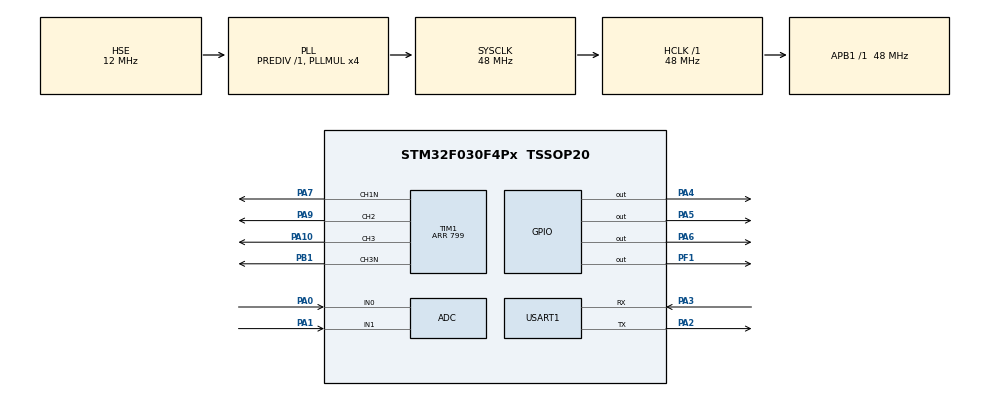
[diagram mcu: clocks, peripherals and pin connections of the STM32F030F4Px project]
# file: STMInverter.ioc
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ADC.DMAContinuousRequests=ENABLE
ADC.ExternalTrigConv=ADC_EXTERNALTRIGCONV_T1_TRGO
Dma.ADC.0.Direction=DMA_PERIPH_TO_MEMORY
Dma.ADC.0.Instance=DMA1_Channel1
Dma.ADC.0.MemDataAlignment=DMA_MDATAALIGN_HALFWORD
Dma.ADC.0.MemInc=DMA_MINC_ENABLE
Dma.ADC.0.Mode=DMA_CIRCULAR
Dma.ADC.0.PeriphDataAlignment=DMA_PDATAALIGN_HALFWORD
Dma.ADC.0.PeriphInc=DMA_PINC_DISABLE
Dma.ADC.0.Priority=DMA_PRIORITY_LOW
Dma.Request0=ADC
Mcu.Family=STM32F0
Mcu.Name=STM32F030F4Px
Mcu.Package=TSSOP20
NVIC.DMA1_Channel1_IRQn=true\:0\:0\:false\:false\:true\:false\:true\:true
NVIC.TIM1_BRK_UP_TRG_COM_IRQn=true\:0\:0\:false\:false\:true\:true\:true\:true
PA0.Mode=IN0
PA0.Signal=ADC_IN0
PA1.Mode=IN1
PA1.Signal=ADC_IN1
PA10.Signal=S_TIM1_CH3
PA13.Mode=Serial_Wire
PA13.Signal=SYS_SWDIO
PA14.Mode=Serial_Wire
PA14.Signal=SYS_SWCLK
PA2.Mode=Asynchronous
PA2.Signal=USART1_TX
PA3.Mode=Asynchronous
PA3.Signal=USART1_RX
PA4.Signal=GPIO_Output
PA5.Signal=GPIO_Output
PA6.Signal=GPIO_Output
PA7.Mode=PWM Generation1 CH1N
PA7.Signal=TIM1_CH1N
PA9.Signal=S_TIM1_CH2
PB1.Mode=PWM Generation3 CH3 CH3N
PB1.Signal=TIM1_CH3N
PF0-OSC_IN.Mode=HSE-External-Clock-Source
PF0-OSC_IN.Signal=RCC_OSC_IN
PF1-OSC_OUT.Signal=GPIO_Output
ProjectManager.HeapSize=0x200
ProjectManager.StackSize=0x400
ProjectManager.TargetToolchain=STM32CubeIDE
RCC.AHBFreq_Value=48000000
RCC.APB1Freq_Value=48000000
RCC.APB1TimFreq_Value=48000000
RCC.HCLKFreq_Value=48000000
RCC.HSE_VALUE=12000000
RCC.PLLMUL=RCC_PLL_MUL4
RCC.PLLSourceVirtual=RCC_PLLSOURCE_HSE
RCC.SYSCLKFreq_VALUE=48000000
RCC.SYSCLKSource=RCC_SYSCLKSOURCE_PLLCLK
SH.S_TIM1_CH2.0=TIM1_CH2,PWM Generation2 CH2
SH.S_TIM1_CH3.0=TIM1_CH3,PWM Generation3 CH3 CH3N
TIM1.Channel-PWM\ Generation1\ CH1N=TIM_CHANNEL_1
TIM1.Channel-PWM\ Generation2\ CH2=TIM_CHANNEL_2
TIM1.Channel-PWM\ Generation3\ CH3\ CH3N=TIM_CHANNEL_3
TIM1.CounterMode=TIM_COUNTERMODE_CENTERALIGNED1
TIM1.DeadTime=0
TIM1.OCNPolarity_1=TIM_OCNPOLARITY_LOW
TIM1.Period=799
TIM1.Pulse-PWM\ Generation1\ CH1N=0
TIM1.Pulse-PWM\ Generation3\ CH3\ CH3N=0
TIM1.RepetitionCounter=5
TIM1.TIM_MasterOutputTrigger=TIM_TRGO_UPDATE
USART1.VirtualMode-Asynchronous=VM_ASYNC
VP_TIM1_VS_ClockSourceINT.Mode=Internal
board=custom

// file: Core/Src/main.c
/* USER CODE BEGIN Header */
/**
  ******************************************************************************
  * @file           : main.c
  * @brief          : Main program body
  ******************************************************************************
  * @attention
  *
  * Copyright (c) 2022 STMicroelectronics.
  * All rights reserved.
  *
  * This software is licensed under terms that can be found in the LICENSE file
  * in the root directory of this software component.
  * If no LICENSE file comes with this software, it is provided AS-IS.
  *
  ******************************************************************************
  */
/* USER CODE END Header */
#include "main.h"

/* USER CODE BEGIN Includes */
#include <stdlib.h>
#include <stdbool.h>
//#include <stdio.h>
#include <string.h>
#include "controller.h"
#include "sogi_pllFXP.h"
/* USER CODE END Includes */

/* USER CODE BEGIN PD */

#define SHUTDOWN_MASK (1<<6)  // Gatedriver Shutdown Pin + LED (inverted)

enum state_t {INIT, POWER_TEST, GRID_CONNECTING, GRID_SYNC};
volatile enum state_t state = INIT;

/* USER CODE END PD */

ADC_HandleTypeDef hadc;
DMA_HandleTypeDef hdma_adc;

TIM_HandleTypeDef htim1;

UART_HandleTypeDef huart1;

/* USER CODE BEGIN PV */
uint16_t ADCxConvertedData[2];
uint16_t adcOff;
volatile uint16_t debug_Vdc_filt;
volatile int16_t debug_i_ref_amp;
volatile int16_t debug_v_amp_pred;

volatile bool status_Vin = false;
volatile bool status_Vgrid = false;

volatile uint32_t cnt_intr;
volatile uint32_t cnt_crowbar_actions;
/* USER CODE END PV */

void SystemClock_Config(void);
static void MX_GPIO_Init(void);
static void MX_DMA_Init(void);
static void MX_ADC_Init(void);
static void MX_TIM1_Init(void);
static void MX_USART1_UART_Init(void);

/* USER CODE BEGIN 0 */
// Redirect standard output to the UART port
//int _write(int file, char *ptr, int len)
//{
//    HAL_UART_Transmit(&huart1,(uint8_t *)ptr,len, 10);
//    return len;
//}

#define uSend(x) uartSend(x, sizeof x -1)
void uartSend(char* ptr, int len)
{
    HAL_UART_Transmit(&huart1,(uint8_t *)ptr,len, 10);

}

//volatile bool conv_done = false;
//void HAL_TIM_TriggerCallback(TIM_HandleTypeDef *htim)

// 30kHz / ((5+1)/2) = 10kHz
#define CTRL_FREQ 10000
// execution time = 77.19us
// PV voltage applied until first execution of this callback:
// 500µs soft ramp of Buck-Conv + 4.2ms when controller has >3V = 4.7ms
// maximum PV current: 6A -> 6mF * 28V /6A = 28.0ms -> enough time for crowbar to limit Vin

//void HAL_TIM_PeriodElapsedCallback(TIM_HandleTypeDef *htim)
void HAL_ADC_ConvCpltCallback(ADC_HandleTypeDef *hadc)
{

  //HAL_GPIO_TogglePin(GPIOA, GPIO_PIN_5);
  GPIOA->BSRR = (1<<5); //set PA5
  //conv_done = true;
  cnt_intr++;

  // Lowpass filter for Vdc
  static uint16_t Vdc_prev[3] = {0};
  uint16_t Vdc_filt = ((uint32_t)ADCxConvertedData[0] + Vdc_prev[0] + Vdc_prev[1] + Vdc_prev[2]) >> 2;
  debug_Vdc_filt = Vdc_filt;
  Vdc_prev[2] = Vdc_prev[1];
  Vdc_prev[1] = Vdc_prev[0];
  Vdc_prev[0] = ADCxConvertedData[0];

  // #######################
  // ### error checking  ###
  // #######################

  // Vin
  if (Vdc_filt > VIN_MIN_RAW && Vdc_filt < VIN_MAX_RAW) {
	  if (Vdc_filt > VIN_START_RAW) {
		  status_Vin = true;
	  }
  } else {
	  GPIOA->BSRR = SHUTDOWN_MASK;  // disable PWM & yellow LED
	  GPIOF->BRR = 1<<1;  // disable contactor
	  status_Vin = false;
	  state = INIT;
  }

  // Vin crowbar to limit input PV voltage
  if (Vdc_filt > VIN_CROWBAR_MAX_RAW) {
	  GPIOA->BSRR = 1<<4;  // enable PV crowbar
	  cnt_crowbar_actions++;
  } else if (Vdc_filt < VIN_CROWBAR_MIN_RAW) {
	  GPIOA->BRR = 1<<4;  // disable PV crowbar
  }

  // Vgrid
  int32_t vd = pll_get_vd();
  int32_t w = pll_get_w();
  static uint32_t cnt_pll_locked = 0;
  if (vd > VD_MIN_RAW && vd < VD_MAX_RAW &&
	   w > W_MIN_RAW && w < W_MAX_RAW) {
	  if (cnt_pll_locked == 0.2*CTRL_FREQ) {  // 200ms
		  status_Vgrid = true;
	  } else {
		  cnt_pll_locked++;
	  }
  } else {
	  status_Vgrid = false;
	  cnt_pll_locked = 0;
  }

  // #################
  // ### read ADC  ###
  // #################

  // Now configured in auto trigger mode

  // DMA mode takes 6.02us for 3 channels; 5.92uS without if(HAL_OK) -> 20us-6us = 14us -> 14us*48MHz = 672 cycles
  //static uint16_t   aADCxConvertedData[ADC_CONVERTED_DATA_BUFFER_SIZE];

  /* ### - 4 - Start conversion in DMA mode ################################# */
  //HAL_ADC_Start_DMA(&hadc, (uint32_t *)aADCxConvertedData, ADC_CONVERTED_DATA_BUFFER_SIZE );

  // polling mode takes 6.25us (for 1channel?)
//	    /*##-3- Start the conversion process #######################################*/
//	    if (HAL_ADC_Start(&hadc) != HAL_OK)
//	    {
//	      /* Start Conversation Error */
//	      Error_Handler();
//	    }
//
//	    /*##-4- Wait for the end of conversion #####################################*/
//	    /*  For simplicity reasons, this example is just waiting till the end of the
//	    conversion, but application may perform other tasks while conversion
//	    operation is ongoing. */
//	    if (HAL_ADC_PollForConversion(&hadc, 10) != HAL_OK)
//	    {
//	      /* End Of Conversion flag not set on time */
//	      Error_Handler();
//	    }
//	    else
//	    {
//	      /* ADC conversion completed */
//	      /*##-5- Get the converted value of regular channel  ########################*/
//	    	aADCxConvertedData[0] = HAL_ADC_GetValue(&hadc);
//	    }

  int16_t duty1 = 0;
  static uint32_t cnt_rel = 0;
  cnt_rel++;

#define PWM_MAX 800
#define PWM_MAX_HALF (PWM_MAX>>1)

	  int16_t phase = pll_singlephase_step(ADCxConvertedData[1]-adcOff);

  switch (state) {
  	  case INIT:
  		  GPIOF->BRR = 1<<1;  // disable contactor
  		  GPIOA->BSRR = SHUTDOWN_MASK;  // disable PWM & yellow LED
//  		  if (status_Vin  && (cnt_rel >= 10*CTRL_FREQ)) {  // wait 10sec, cnt_rel exactly equal (==) seems to causes hangup in morning startup
		  if (status_Vin) {
  			  state = POWER_TEST;
  			  cnt_crowbar_actions = 0;
  			  cnt_rel = 0;
  		  }
  		  break;

  	  case POWER_TEST:

  		  // higher power consumption through sine generation -> safety risk
//  		  static int16_t phase_gridforming = 0;
//  		  phase_gridforming += ((1<<15)*50)/CTRL_FREQ;
//  		  duty1 = PWM_MAX_HALF + ( (int32_t)( (PWM_MAX_HALF*(VGRID_AMP/VGRID_TRATIO)/VDC_REF)*(int32_t)cos1(phase_gridforming) ) >> 15 );
//		  GPIOA->BRR = SHUTDOWN_MASK;  // enable PWM

		  // If crowbar has a lot of work to do in the first 30 seconds -> enough power is available
		  if (cnt_crowbar_actions > 1080) {
			  state = GRID_CONNECTING;
			  cnt_rel = 0;
		  }

		  if (cnt_rel >= 30*CTRL_FREQ) {  // if still here after 30 sec -> reset microcontroller
			  NVIC_SystemReset();  // most efficient way to get back to first state
		  }
  		  break;

  	  case GRID_CONNECTING:
  		 GPIOF->BSRR = 1<<1;  // enable contactor
  		 if (cnt_rel == 0.025*CTRL_FREQ) {  // 25ms delay for contactor action
  			state = GRID_SYNC;
  			cnt_rel = 0;
  			piCtrl.y = 0;
  			piCtrl.x_prev = 0;
  		 }
  		 break;

  	  case GRID_SYNC:

		  // #########################
		  // ### control algorithm ###
		  // #########################

		  if (status_Vgrid) {

#define EXTEND_LOC 5
#define SCALE_VAC2VDC (int32_t)( ((VGRID_ADCR/VGRID_TRATIO) / VIN_ADCR ) * (1<<EXTEND_LOC) )

			cnt_rel = 0;
			//int16_t i_ref_amp = step_pi_Vdc2IacAmp( VDC_REF_RAW, Vdc_filt );
			int16_t i_ref_amp = step_pi_Vdc2IacAmp_volt_comp( VDC_REF_RAW, Vdc_filt, phase );
			debug_i_ref_amp = i_ref_amp;

			int16_t duty_pll = ( pll_get_vd()*SCALE_VAC2VDC * PWM_MAX_HALF / Vdc_filt ) >> EXTEND_LOC;

			//int16_t v_amp_pred = 20*step_IacAmp2VacSecAmp(i_ref_amp);  // 10 Ohm resistor test + 130uH  22.4ns rise time 24.18V/22.0Vdc
			//int16_t v_amp_pred = 40*step_IacAmp2VacSecAmp(i_ref_amp);  // 10 Ohm resistor test + 130uH  36.5ns rise time 22.3V/22.0Vdc bzw. 10.4ns rise time 27.53V/21.78Vdc
								                                         // ohne Gate Ausschaltdioden 26ns rise time 22.19V/21.4Vdc -> minimal overshoot
			int16_t v_amp_pred = calc_IacAmp2VacSecAmpDCscale(i_ref_amp);
			debug_v_amp_pred = v_amp_pred;
			int16_t duty_v_amp_pred = ( v_amp_pred * PWM_MAX_HALF ) / Vdc_filt;

			// irefamp 3,3A -> 13,7W  7,6A ->30W  11,1A -> 43W  12,2V->49W(25,2-27,6Vdc)

			// fixed L and R Trafo + winding parallel
			//int16_t phase_shiftRL = get_IacPhase();  // Strom eilt 505us vor 10,5W 12,5VA
			//int16_t phase_shiftRL = get_IacPhase() + (int16_t)(((1<<15)*-0.505)/20); //IAC_AMP_MAX 12.0  // 38W/45VA Strom(4Aamp) eilt 1,8ms nach (23,6Voutamp 27,4Vdc)
			// bei kleinen Strömen eilt Strom vor, bei großen nach -> keine Kompensation
			//int16_t phase_shiftRL = get_IacPhase(); // Strom eilt 1.08ms nach bei 4,2Aamp
			int16_t phase_shiftRL = get_IacPhase()+ (int16_t)(((1<<15)*1.08)/20);  // Strom(3,5Aamp) in Phase bei 40,5W/42,5VA (25,4Vdc bis 27,3Vdc)

			//duty1 = PWM_MAX_HALF + ( ( PWM_MAX_HALF*(int32_t)cos1(phase) ) >> 15 );  // MAX amplitude test
			//duty1 = PWM_MAX_HALF + ( ( (duty_v_amp_pred)*(int32_t)cos1(phase) ) >> 15 );  //resistor test; asymm, maybe because of Oszi
			duty1 = PWM_MAX_HALF + ( ( (duty_pll*(int32_t)cos1(phase) + duty_v_amp_pred*(int32_t)cos1(phase+phase_shiftRL)) ) >> 15 );

			static uint32_t cnt_power_low = 0;

			if (i_ref_amp < I_REF_AMP_MIN_RAW) {
				cnt_power_low++;
				if (cnt_power_low == 30*CTRL_FREQ ) {  // 30 sec low power -> reset microcontroller
					NVIC_SystemReset();
				}
			} else {
				cnt_power_low = 0;
			}

			GPIOA->BRR = SHUTDOWN_MASK;  // enable PWM & yellow LED

  		  } else {
			  GPIOA->BSRR = SHUTDOWN_MASK;  // disable PWM & yellow LED
			  if (cnt_rel == 30*CTRL_FREQ) {  // 30 sec no valid grid -> reset microcontroller
				  NVIC_SystemReset();
			  }
  		  }

		  break;
	}

	  // single PWM step has 1/48MHz = 20.83ns
#define MIN_PULSE 4  // min pulse duration is 83ns - 50ns deadtime = 33ns
	  if (duty1 > (PWM_MAX-MIN_PULSE)) {
		  duty1 = PWM_MAX;
	  } else if (duty1 < MIN_PULSE){
		  duty1 = 0;
	  }

	  // A leg
	  __HAL_TIM_SetCompare(&htim1, TIM_CHANNEL_3, duty1);  //update pwm value

	  // B leg
	  int16_t duty2 = PWM_MAX_HALF+(PWM_MAX_HALF-duty1);
	  __HAL_TIM_SetCompare(&htim1, TIM_CHANNEL_1, duty2);  //update pwm value
	  __HAL_TIM_SetCompare(&htim1, TIM_CHANNEL_2, duty2);  //update pwm value

	  GPIOA->BRR = (1<<5); //switch off PA5

}

/* USER CODE END 0 */

int main(void)
{

  /* MCU Configuration--------------------------------------------------------*/

  /* Reset of all peripherals, Initializes the Flash interface and the Systick. */
  HAL_Init();

  /* Configure the system clock */
  SystemClock_Config();

  /* Initialize all configured peripherals */
  MX_GPIO_Init();
  MX_DMA_Init();
  MX_ADC_Init();
  MX_TIM1_Init();
  MX_USART1_UART_Init();
  /* USER CODE BEGIN 2 */

  GPIOA->BSRR = SHUTDOWN_MASK;  // disable PWM & yellow LED

  char Tx_Buffer[64];
  uint8_t Tx_len;

//  HAL_UART_Transmit(&huart1,(uint8_t *)Tx_Buffer,Tx_len, 10);
  //HAL_UART_Transmit_IT(&huart1,(uint8_t *)Tx_Buffer,Tx_len);

  // ###########################
  // ### Timer configuration ###
  // ###########################

  if (  HAL_TIMEx_PWMN_Start(&htim1, TIM_CHANNEL_1) != HAL_OK)
  {
    /* PWM Generation Error */
    Error_Handler();
  }
  if (   HAL_TIM_PWM_Start(&htim1, TIM_CHANNEL_2) != HAL_OK)
  {
    /* PWM Generation Error */
    Error_Handler();
  }
  if (   HAL_TIM_PWM_Start(&htim1, TIM_CHANNEL_3) != HAL_OK)
  {
    /* PWM Generation Error */
    Error_Handler();
  }
  if (  HAL_TIMEx_PWMN_Start(&htim1, TIM_CHANNEL_3) != HAL_OK)
  {
    /* PWM Generation Error */
    Error_Handler();
  }

  if (  HAL_TIM_Base_Start_IT(&htim1) != HAL_OK)
  {
    Error_Handler();
  }

  if ( HAL_ADC_Start_DMA(&hadc, (uint32_t *)ADCxConvertedData, sizeof(ADCxConvertedData)/sizeof(ADCxConvertedData[0]))  != HAL_OK)
  {
    Error_Handler();
  }

	// get ADC offset -> can be done once for every new microcontroller
//    uint32_t adc_sum = 0;
//	for (int i=0; i < (1<<15); i++ ) {
//	  /* ### - 4 - Start conversion in DMA mode ################################# */
//	  //HAL_ADC_Start_DMA(&hadc, (uint32_t *)ADCxConvertedData, sizeof(ADCxConvertedData)/sizeof(ADCxConvertedData[0]));
//	  while (!conv_done) {
//		  asm("nop");
//	  }
//
//	  conv_done = false;
//	  adc_sum += ADCxConvertedData[1];
//	}
//	adcOff = adc_sum >> 15;
//
//	uSend("\nADCcal ");
//	itoa(adcOff, Tx_Buffer, 10);
//	Tx_len=strlen(Tx_Buffer);
//	HAL_UART_Transmit(&huart1, (uint8_t *)Tx_Buffer, Tx_len, 10);
//	uSend("\n");

	adcOff = 943-9;  //+0 : 200mAdc 3,5W/20VA  +10:390mAdc   -9: 40mAdc 2,7W/13VA  0,5W/10VA/1,3Irefamp
	pll_set_phaseOffset((1<<15) * -10.03/20);  // zero crossing of grid and converter voltage matched

  /* USER CODE END 2 */

  /* Infinite loop */
  while (1)
  {

    /* USER CODE BEGIN 3 */

	  //HAL_IWDG_Refresh(&hiwdg);

	  //if (cnt_intr % CTRL_FREQ == 0) {  // V1: once a second
	  // V2: on data request
	  uint8_t Rx_Buffer = 0;
	  HAL_UART_Receive(&huart1, &Rx_Buffer, 1, 10);

	  if (Rx_Buffer == 'p') {

		  uSend("state");
		  itoa(state, Tx_Buffer, 10);
		  Tx_len=strlen(Tx_Buffer);
		  HAL_UART_Transmit(&huart1, (uint8_t *)Tx_Buffer, Tx_len, 10);

		  if (status_Vin) {
			  uSend(" Vin:ok");
		  }
		  if (status_Vgrid) {
			  uSend(" Vgrid:ok");
		  }

		  uSend("\ncnt_crowbar_actions");
		  itoa(cnt_crowbar_actions, Tx_Buffer, 10);
		  Tx_len=strlen(Tx_Buffer);
		  HAL_UART_Transmit(&huart1, (uint8_t *)Tx_Buffer, Tx_len, 10);

		  uSend("\nvd");
		  itoa((pll_get_vd()*(uint16_t)VGRID_ADCR) >> ADC_BITS, Tx_Buffer, 10);
		  Tx_len=strlen(Tx_Buffer);
		  HAL_UART_Transmit(&huart1, (uint8_t *)Tx_Buffer, Tx_len, 10);

		  uSend("\nw");
		  itoa(pll_get_w()*100/((1<<15)-1), Tx_Buffer, 10);
		  Tx_len=strlen(Tx_Buffer);
		  HAL_UART_Transmit(&huart1, (uint8_t *)Tx_Buffer, Tx_len, 10);

		  uSend("\nVdc");
		  itoa((debug_Vdc_filt * (uint16_t) (10*VIN_ADCR)) >> ADC_BITS, Tx_Buffer, 10);
		  Tx_len=strlen(Tx_Buffer);
		  HAL_UART_Transmit(&huart1, (uint8_t *)Tx_Buffer, Tx_len, 10);

		  uSend("\nIrefAmp");
		  itoa((debug_i_ref_amp*10*(uint16_t)IGRID_ADCR) >> ADC_BITS, Tx_Buffer, 10);
		  Tx_len=strlen(Tx_Buffer);
		  HAL_UART_Transmit(&huart1, (uint8_t *)Tx_Buffer, Tx_len, 10);

//		  uSend("\nVdcR");
//		  itoa(Vdc_filt, Tx_Buffer, 10);
//		  Tx_len=strlen(Tx_Buffer);
//		  HAL_UART_Transmit(&huart1, (uint8_t *)Tx_Buffer, Tx_len, 10);
//
//		  uSend("\nVacR");
//		  itoa(ADCxConvertedData[1], Tx_Buffer, 10);
//		  Tx_len=strlen(Tx_Buffer);
//		  HAL_UART_Transmit(&huart1, (uint8_t *)Tx_Buffer, Tx_len, 10);
//
//		  uSend("\nIrefAmpR");
//		  itoa(debug_i_ref_amp, Tx_Buffer, 10);
//		  Tx_len=strlen(Tx_Buffer);
//		  HAL_UART_Transmit(&huart1, (uint8_t *)Tx_Buffer, Tx_len, 10);
//
//		  uSend("\nv_amp_predR");
//		  itoa(debug_v_amp_pred, Tx_Buffer, 10);
//		  Tx_len=strlen(Tx_Buffer);
//		  HAL_UART_Transmit(&huart1, (uint8_t *)Tx_Buffer, Tx_len, 10);

		  uSend("\n\n");
	  }
	  //HAL_Delay(1000);  //ms
  }
  /* USER CODE END 3 */
}

void SystemClock_Config(void)
{
  RCC_OscInitTypeDef RCC_OscInitStruct = {0};
  RCC_ClkInitTypeDef RCC_ClkInitStruct = {0};
  RCC_PeriphCLKInitTypeDef PeriphClkInit = {0};

  /** Initializes the RCC Oscillators according to the specified parameters
  * in the RCC_OscInitTypeDef structure.
  */
  RCC_OscInitStruct.OscillatorType = RCC_OSCILLATORTYPE_HSI14|RCC_OSCILLATORTYPE_HSE;
  RCC_OscInitStruct.HSEState = RCC_HSE_BYPASS;
  RCC_OscInitStruct.HSI14State = RCC_HSI14_ON;
  RCC_OscInitStruct.HSI14CalibrationValue = 16;
  RCC_OscInitStruct.PLL.PLLState = RCC_PLL_ON;
  RCC_OscInitStruct.PLL.PLLSource = RCC_PLLSOURCE_HSE;
  RCC_OscInitStruct.PLL.PLLMUL = RCC_PLL_MUL4;
  RCC_OscInitStruct.PLL.PREDIV = RCC_PREDIV_DIV1;
  if (HAL_RCC_OscConfig(&RCC_OscInitStruct) != HAL_OK)
  {
    Error_Handler();
  }

  /** Initializes the CPU, AHB and APB buses clocks
  */
  RCC_ClkInitStruct.ClockType = RCC_CLOCKTYPE_HCLK|RCC_CLOCKTYPE_SYSCLK
                              |RCC_CLOCKTYPE_PCLK1;
  RCC_ClkInitStruct.SYSCLKSource = RCC_SYSCLKSOURCE_PLLCLK;
  RCC_ClkInitStruct.AHBCLKDivider = RCC_SYSCLK_DIV1;
  RCC_ClkInitStruct.APB1CLKDivider = RCC_HCLK_DIV1;

  if (HAL_RCC_ClockConfig(&RCC_ClkInitStruct, FLASH_LATENCY_1) != HAL_OK)
  {
    Error_Handler();
  }
  PeriphClkInit.PeriphClockSelection = RCC_PERIPHCLK_USART1;
  PeriphClkInit.Usart1ClockSelection = RCC_USART1CLKSOURCE_PCLK1;
  if (HAL_RCCEx_PeriphCLKConfig(&PeriphClkInit) != HAL_OK)
  {
    Error_Handler();
  }
}

static void MX_ADC_Init(void)
{

  ADC_ChannelConfTypeDef sConfig = {0};

  /** Configure the global features of the ADC (Clock, Resolution, Data Alignment and number of conversion)
  */
  hadc.Instance = ADC1;
  hadc.Init.ClockPrescaler = ADC_CLOCK_ASYNC_DIV1;
  hadc.Init.Resolution = ADC_RESOLUTION_12B;
  hadc.Init.DataAlign = ADC_DATAALIGN_RIGHT;
  hadc.Init.ScanConvMode = ADC_SCAN_DIRECTION_FORWARD;
  hadc.Init.EOCSelection = ADC_EOC_SINGLE_CONV;
  hadc.Init.LowPowerAutoWait = DISABLE;
  hadc.Init.LowPowerAutoPowerOff = DISABLE;
  hadc.Init.ContinuousConvMode = DISABLE;
  hadc.Init.DiscontinuousConvMode = DISABLE;
  hadc.Init.ExternalTrigConv = ADC_EXTERNALTRIGCONV_T1_TRGO;
  hadc.Init.ExternalTrigConvEdge = ADC_EXTERNALTRIGCONVEDGE_RISING;
  hadc.Init.DMAContinuousRequests = ENABLE;
  hadc.Init.Overrun = ADC_OVR_DATA_PRESERVED;
  if (HAL_ADC_Init(&hadc) != HAL_OK)
  {
    Error_Handler();
  }

  /** Configure for the selected ADC regular channel to be converted.
  */
  sConfig.Channel = ADC_CHANNEL_0;
  sConfig.Rank = ADC_RANK_CHANNEL_NUMBER;
  sConfig.SamplingTime = ADC_SAMPLETIME_1CYCLE_5;
  if (HAL_ADC_ConfigChannel(&hadc, &sConfig) != HAL_OK)
  {
    Error_Handler();
  }

  /** Configure for the selected ADC regular channel to be converted.
  */
  sConfig.Channel = ADC_CHANNEL_1;
  if (HAL_ADC_ConfigChannel(&hadc, &sConfig) != HAL_OK)
  {
    Error_Handler();
  }

}

static void MX_TIM1_Init(void)
{

  TIM_ClockConfigTypeDef sClockSourceConfig = {0};
  TIM_MasterConfigTypeDef sMasterConfig = {0};
  TIM_OC_InitTypeDef sConfigOC = {0};
  TIM_BreakDeadTimeConfigTypeDef sBreakDeadTimeConfig = {0};

  htim1.Instance = TIM1;
  htim1.Init.Prescaler = 0;
  htim1.Init.CounterMode = TIM_COUNTERMODE_CENTERALIGNED1;
  htim1.Init.Period = 799;
  htim1.Init.ClockDivision = TIM_CLOCKDIVISION_DIV1;
  htim1.Init.RepetitionCounter = 5;
  htim1.Init.AutoReloadPreload = TIM_AUTORELOAD_PRELOAD_DISABLE;
  if (HAL_TIM_Base_Init(&htim1) != HAL_OK)
  {
    Error_Handler();
  }
  sClockSourceConfig.ClockSource = TIM_CLOCKSOURCE_INTERNAL;
  if (HAL_TIM_ConfigClockSource(&htim1, &sClockSourceConfig) != HAL_OK)
  {
    Error_Handler();
  }
  if (HAL_TIM_PWM_Init(&htim1) != HAL_OK)
  {
    Error_Handler();
  }
  sMasterConfig.MasterOutputTrigger = TIM_TRGO_UPDATE;
  sMasterConfig.MasterSlaveMode = TIM_MASTERSLAVEMODE_DISABLE;
  if (HAL_TIMEx_MasterConfigSynchronization(&htim1, &sMasterConfig) != HAL_OK)
  {
    Error_Handler();
  }
  sConfigOC.OCMode = TIM_OCMODE_PWM1;
  sConfigOC.Pulse = 0;
  sConfigOC.OCPolarity = TIM_OCPOLARITY_HIGH;
  sConfigOC.OCNPolarity = TIM_OCNPOLARITY_LOW;
  sConfigOC.OCFastMode = TIM_OCFAST_DISABLE;
  sConfigOC.OCIdleState = TIM_OCIDLESTATE_RESET;
  sConfigOC.OCNIdleState = TIM_OCNIDLESTATE_RESET;
  if (HAL_TIM_PWM_ConfigChannel(&htim1, &sConfigOC, TIM_CHANNEL_1) != HAL_OK)
  {
    Error_Handler();
  }
  sConfigOC.OCNPolarity = TIM_OCNPOLARITY_HIGH;
  if (HAL_TIM_PWM_ConfigChannel(&htim1, &sConfigOC, TIM_CHANNEL_2) != HAL_OK)
  {
    Error_Handler();
  }
  if (HAL_TIM_PWM_ConfigChannel(&htim1, &sConfigOC, TIM_CHANNEL_3) != HAL_OK)
  {
    Error_Handler();
  }
  sBreakDeadTimeConfig.OffStateRunMode = TIM_OSSR_DISABLE;
  sBreakDeadTimeConfig.OffStateIDLEMode = TIM_OSSI_DISABLE;
  sBreakDeadTimeConfig.LockLevel = TIM_LOCKLEVEL_OFF;
  sBreakDeadTimeConfig.DeadTime = 0;
  sBreakDeadTimeConfig.BreakState = TIM_BREAK_DISABLE;
  sBreakDeadTimeConfig.BreakPolarity = TIM_BREAKPOLARITY_HIGH;
  sBreakDeadTimeConfig.AutomaticOutput = TIM_AUTOMATICOUTPUT_DISABLE;
  if (HAL_TIMEx_ConfigBreakDeadTime(&htim1, &sBreakDeadTimeConfig) != HAL_OK)
  {
    Error_Handler();
  }
  HAL_TIM_MspPostInit(&htim1);

}

static void MX_USART1_UART_Init(void)
{

  huart1.Instance = USART1;
  huart1.Init.BaudRate = 38400;
  huart1.Init.WordLength = UART_WORDLENGTH_8B;
  huart1.Init.StopBits = UART_STOPBITS_1;
  huart1.Init.Parity = UART_PARITY_NONE;
  huart1.Init.Mode = UART_MODE_TX_RX;
  huart1.Init.HwFlowCtl = UART_HWCONTROL_NONE;
  huart1.Init.OverSampling = UART_OVERSAMPLING_16;
  huart1.Init.OneBitSampling = UART_ONE_BIT_SAMPLE_DISABLE;
  huart1.AdvancedInit.AdvFeatureInit = UART_ADVFEATURE_NO_INIT;
  if (HAL_UART_Init(&huart1) != HAL_OK)
  {
    Error_Handler();
  }

}

static void MX_DMA_Init(void)
{

  /* DMA controller clock enable */
  __HAL_RCC_DMA1_CLK_ENABLE();

  /* DMA interrupt init */
  /* DMA1_Channel1_IRQn interrupt configuration */
  HAL_NVIC_SetPriority(DMA1_Channel1_IRQn, 0, 0);
  HAL_NVIC_EnableIRQ(DMA1_Channel1_IRQn);

}

static void MX_GPIO_Init(void)
{
  GPIO_InitTypeDef GPIO_InitStruct = {0};

  /* GPIO Ports Clock Enable */
  __HAL_RCC_GPIOF_CLK_ENABLE();
  __HAL_RCC_GPIOA_CLK_ENABLE();
  __HAL_RCC_GPIOB_CLK_ENABLE();

  /*Configure GPIO pin Output Level */
  HAL_GPIO_WritePin(GPIOF, GPIO_PIN_1, GPIO_PIN_RESET);

  /*Configure GPIO pin Output Level */
  HAL_GPIO_WritePin(GPIOA, GPIO_PIN_4|GPIO_PIN_5|GPIO_PIN_6, GPIO_PIN_RESET);

  /*Configure GPIO pin : PF1 */
  GPIO_InitStruct.Pin = GPIO_PIN_1;
  GPIO_InitStruct.Mode = GPIO_MODE_OUTPUT_PP;
  GPIO_InitStruct.Pull = GPIO_NOPULL;
  GPIO_InitStruct.Speed = GPIO_SPEED_FREQ_LOW;
  HAL_GPIO_Init(GPIOF, &GPIO_InitStruct);

  /*Configure GPIO pins : PA4 PA5 PA6 */
  GPIO_InitStruct.Pin = GPIO_PIN_4|GPIO_PIN_5|GPIO_PIN_6;
  GPIO_InitStruct.Mode = GPIO_MODE_OUTPUT_PP;
  GPIO_InitStruct.Pull = GPIO_NOPULL;
  GPIO_InitStruct.Speed = GPIO_SPEED_FREQ_LOW;
  HAL_GPIO_Init(GPIOA, &GPIO_InitStruct);

}

void Error_Handler(void)
{
  /* USER CODE BEGIN Error_Handler_Debug */
  /* User can add his own implementation to report the HAL error return state */
  __disable_irq();

  uSend("EH\n");

  NVIC_SystemReset();
//  while (1)
//  {
//  }
  /* USER CODE END Error_Handler_Debug */
}
